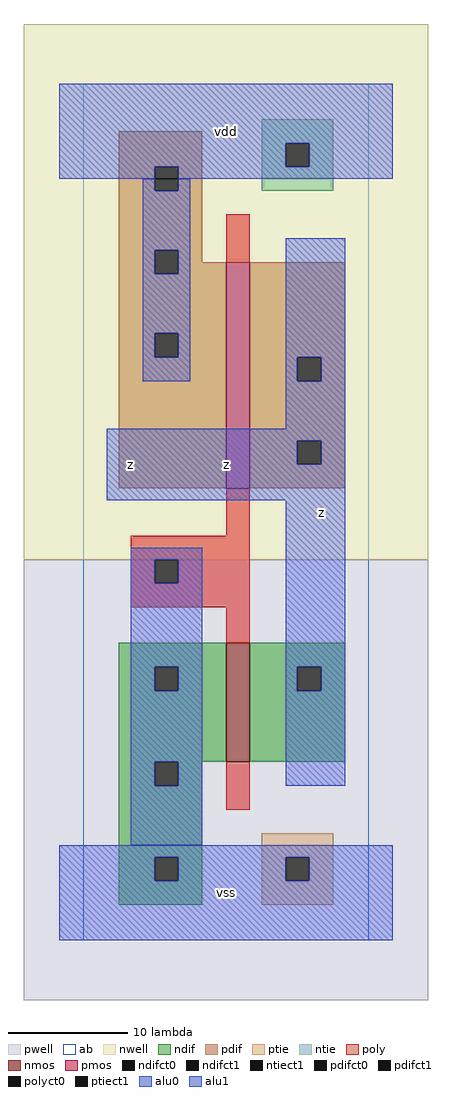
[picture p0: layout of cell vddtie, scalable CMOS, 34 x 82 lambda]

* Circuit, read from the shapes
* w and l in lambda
.subckt vddtie vdd vss z
M1 z vss vss vss nfet w=10 l=2
M2 z vss vdd vdd pfet w=19 l=2
.ends

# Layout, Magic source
magic
tech scmos
<< ab >>
rect 0 0 24 72
<< nwell >>
rect -5 32 29 77
<< pwell >>
rect -5 -5 29 32
<< poly >>
rect 12 57 14 61
rect 12 34 14 38
rect 4 32 14 34
rect 4 30 6 32
rect 8 30 14 32
rect 4 28 14 30
rect 12 25 14 28
rect 12 11 14 15
<< ndif >>
rect 3 23 12 25
rect 3 21 6 23
rect 8 21 12 23
rect 3 15 12 21
rect 14 23 22 25
rect 14 21 18 23
rect 20 21 22 23
rect 14 15 22 21
rect 3 13 6 15
rect 8 13 10 15
rect 3 7 10 13
rect 3 5 6 7
rect 8 5 10 7
rect 3 3 10 5
<< pdif >>
rect 3 65 10 68
rect 3 63 6 65
rect 8 63 10 65
rect 3 58 10 63
rect 3 56 6 58
rect 8 57 10 58
rect 8 56 12 57
rect 3 51 12 56
rect 3 49 6 51
rect 8 49 12 51
rect 3 38 12 49
rect 14 49 22 57
rect 14 47 18 49
rect 20 47 22 49
rect 14 42 22 47
rect 14 40 18 42
rect 20 40 22 42
rect 14 38 22 40
<< alu1 >>
rect -2 67 26 72
rect -2 65 17 67
rect 19 65 26 67
rect -2 64 6 65
rect 8 64 26 65
rect 17 49 22 59
rect 17 47 18 49
rect 20 47 22 49
rect 17 43 22 47
rect 2 42 22 43
rect 2 40 18 42
rect 20 40 22 42
rect 2 37 22 40
rect 17 23 22 37
rect 17 21 18 23
rect 20 21 22 23
rect 17 13 22 21
rect -2 7 26 8
rect -2 5 6 7
rect 8 5 17 7
rect 19 5 26 7
rect -2 0 26 5
<< ptie >>
rect 15 7 21 9
rect 15 5 17 7
rect 19 5 21 7
rect 15 3 21 5
<< ntie >>
rect 15 67 21 69
rect 15 65 17 67
rect 19 65 21 67
rect 15 63 21 65
<< nmos >>
rect 12 15 14 25
<< pmos >>
rect 12 38 14 57
<< polyct0 >>
rect 6 30 8 32
<< ndifct0 >>
rect 6 21 8 23
rect 6 13 8 15
<< ndifct1 >>
rect 18 21 20 23
rect 6 5 8 7
<< ntiect1 >>
rect 17 65 19 67
<< ptiect1 >>
rect 17 5 19 7
<< pdifct0 >>
rect 6 63 8 64
rect 6 56 8 58
rect 6 49 8 51
<< pdifct1 >>
rect 6 64 8 65
rect 18 47 20 49
rect 18 40 20 42
<< alu0 >>
rect 5 63 6 64
rect 8 63 9 64
rect 5 58 9 63
rect 5 56 6 58
rect 8 56 9 58
rect 5 51 9 56
rect 5 49 6 51
rect 8 49 9 51
rect 5 47 9 49
rect 4 32 10 33
rect 4 30 6 32
rect 8 30 10 32
rect 4 23 10 30
rect 4 21 6 23
rect 8 21 10 23
rect 4 15 10 21
rect 4 13 6 15
rect 8 13 10 15
rect 4 8 10 13
<< labels >>
rlabel alu1 4 40 4 40 6 z
rlabel alu1 12 4 12 4 6 vss
rlabel alu1 12 40 12 40 6 z
rlabel alu1 12 68 12 68 6 vdd
rlabel alu1 20 36 20 36 6 z
<< end >>
